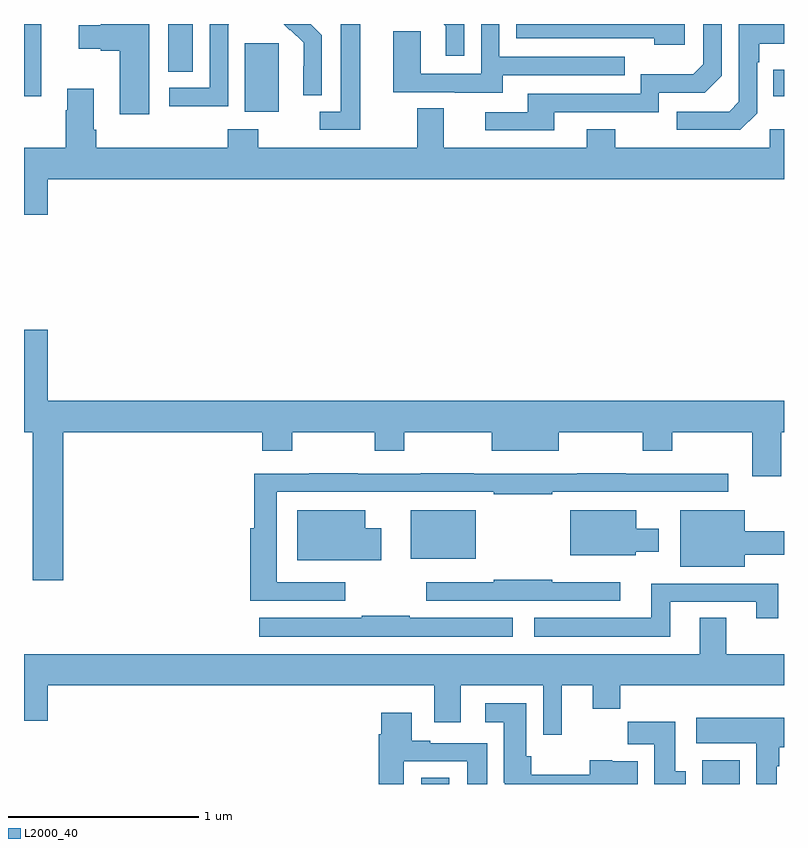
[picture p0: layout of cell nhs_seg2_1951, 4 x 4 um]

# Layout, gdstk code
import gdstk
lib = gdstk.Library(unit=1e-6, precision=1e-09)
def R(c, l, rs):  # rectangles x0, y0, x1, y1
    for r in rs: c.add(gdstk.rectangle(r[:2], r[2:], *l))
def P(c, l, *ps):  # polygons
    for p in ps: c.add(gdstk.Polygon(p, *l))
L2000_40 = (2000, 40)

nhs_seg2_1951 = lib.new_cell('nhs_seg2_1951')
R(nhs_seg2_1951, L2000_40, [(215.09,629.8,215.239,629.834), (216.569,629.8,216.766,629.926), (215.036,630.986,215.377,631.24), (214.163,633.338,214.342,633.699), (213,633.419,213.092,633.8), (216.943,633.419,217,633.559), (213.758,633.55,213.889,633.8)])
P(nhs_seg2_1951, L2000_40, [(213.658,633.8),(213.404,633.8),(213.404,633.793),(213.288,633.793),(213.288,633.671),(213.404,633.671),(213.404,633.659),(213.503,633.659),(213.503,633.324),(213.658,633.324)],
  [(215.791,633.336),(216.342,633.336),(216.342,633.438),(216.582,633.438),(216.672,633.528),(216.672,633.8),(216.576,633.8),(216.576,633.588),(216.523,633.535),(216.246,633.535),(216.246,633.432),(215.651,633.432),(215.651,633.336),(215.427,633.336),(215.427,633.24),(215.791,633.24)],
  [(216.858,633.33),(216.858,633.599),(216.871,633.599),(216.871,633.695),(217,633.695),(217,633.8),(216.762,633.8),(216.762,633.39),(216.711,633.339),(216.435,633.339),(216.435,633.243),(216.771,633.243)],
  [(215.316,633.8),(215.208,633.8),(215.219,633.789),(215.219,633.633),(215.316,633.633)],
  [(214.771,633.8),(214.667,633.8),(214.667,633.339),(214.557,633.339),(214.557,633.243),(214.771,633.243)],
  [(215.521,633.531),(216.161,633.531),(216.161,633.627),(215.502,633.627),(215.502,633.8),(215.406,633.8),(215.406,633.537),(215.088,633.537),(215.088,633.761),(214.943,633.761),(214.943,633.441),(215.267,633.441),(215.267,633.437),(215.521,633.437)],
  [(214.074,633.796),(214.077,633.796),(214.077,633.8),(213.978,633.8),(213.978,633.465),(213.765,633.465),(213.765,633.367),(214.074,633.367)],
  [(214.566,633.742),(214.508,633.8),(214.366,633.8),(214.398,633.768),(214.401,633.771),(214.472,633.701),(214.472,633.578),(214.47,633.578),(214.47,633.424),(214.566,633.424)],
  [(216.478,633.8),(215.592,633.8),(215.592,633.726),(216.317,633.726),(216.317,633.692),(216.478,633.692)],
  [(213.124,632.984),(217,632.984),(217,633.247),(216.924,633.247),(216.924,633.148),(216.111,633.148),(216.111,633.247),(215.963,633.247),(215.963,633.148),(215.209,633.148),(215.209,633.356),(215.069,633.356),(215.069,633.148),(214.233,633.148),(214.233,633.247),(214.073,633.247),(214.073,633.148),(213.38,633.148),(213.38,633.244),(213.367,633.244),(213.367,633.46),(213.227,633.46),(213.227,633.347),(213.22,633.347),(213.22,633.148),(213,633.148),(213,632.796),(213.124,632.796)],
  [(213.206,631.652),(214.253,631.652),(214.253,631.553),(214.413,631.553),(214.413,631.652),(214.846,631.652),(214.846,631.553),(215.001,631.553),(215.001,631.652),(215.462,631.652),(215.462,631.553),(215.815,631.553),(215.815,631.652),(216.256,631.652),(216.256,631.553),(216.411,631.553),(216.411,631.652),(216.833,631.652),(216.833,631.419),(216.986,631.419),(216.986,631.652),(217,631.652),(217,631.816),(213.124,631.816),(213.124,632.191),(213,632.191),(213,631.652),(213.046,631.652),(213.046,630.873),(213.206,630.873)],
  [(214.69,630.861),(214.329,630.861),(214.329,631.338),(215.473,631.338),(215.473,631.326),(215.78,631.326),(215.78,631.338),(216.706,631.338),(216.706,631.434),(216.167,631.434),(216.167,631.436),(215.911,631.436),(215.911,631.434),(215.366,631.434),(215.366,631.436),(215.089,631.436),(215.089,631.434),(214.757,631.434),(214.757,631.436),(214.501,631.436),(214.501,631.434),(214.213,631.434),(214.213,631.147),(214.19,631.147),(214.19,630.765),(214.69,630.765)],
  [(216.219,631.022),(216.34,631.022),(216.34,631.144),(216.223,631.144),(216.223,631.24),(215.876,631.24),(215.876,631.004),(216.219,631.004)],
  [(214.879,631.147),(214.795,631.147),(214.795,631.24),(214.439,631.24),(214.439,630.977),(214.879,630.977)],
  [(216.793,631.007),(217,631.007),(217,631.129),(216.793,631.129),(216.793,631.24),(216.455,631.24),(216.455,630.944),(216.793,630.944)],
  [(216.139,630.862),(215.78,630.862),(215.78,630.874),(215.473,630.874),(215.473,630.861),(215.118,630.861),(215.118,630.765),(216.139,630.765)],
  [(216.4,630.759),(216.854,630.759),(216.854,630.672),(216.971,630.672),(216.971,630.855),(216.302,630.855),(216.302,630.676),(215.685,630.676),(215.685,630.575),(216.4,630.575)],
  [(215.572,630.676),(215.03,630.676),(215.03,630.686),(214.777,630.686),(214.777,630.676),(214.239,630.676),(214.239,630.575),(215.572,630.575)],
  [(215.83,630.32),(215.993,630.32),(215.993,630.196),(216.137,630.196),(216.137,630.32),(217,630.32),(217,630.484),(216.697,630.484),(216.697,630.674),(216.557,630.674),(216.557,630.484),(213,630.484),(213,630.132),(213.124,630.132),(213.124,630.32),(215.159,630.32),(215.159,630.126),(215.299,630.126),(215.299,630.32),(215.733,630.32),(215.733,630.06),(215.83,630.06)],
  [(216.229,629.92),(216.096,629.92),(216.096,629.926),(215.978,629.926),(215.978,629.848),(215.67,629.848),(215.67,629.946),(215.644,629.946),(215.644,630.226),(215.427,630.226),(215.427,630.125),(215.525,630.125),(215.525,629.806),(215.529,629.806),(215.529,629.8),(216.229,629.8)],
  [(214.999,629.919),(215.333,629.919),(215.333,629.8),(215.437,629.8),(215.437,630.015),(215.137,630.015),(215.137,630.028),(215.041,630.028),(215.041,630.175),(214.88,630.175),(214.88,630.062),(214.868,630.062),(214.868,629.8),(214.999,629.8)],
  [(216.961,629.894),(216.976,629.894),(216.976,629.994),(217,629.994),(217,630.148),(216.537,630.148),(216.537,630.014),(216.854,630.014),(216.854,629.8),(216.961,629.8)],
  [(216.484,629.868),(216.427,629.868),(216.427,630.127),(216.178,630.127),(216.178,630.008),(216.317,630.008),(216.317,629.8),(216.484,629.8)])

lib.write_gds('nhs_seg2_1951.gds')
